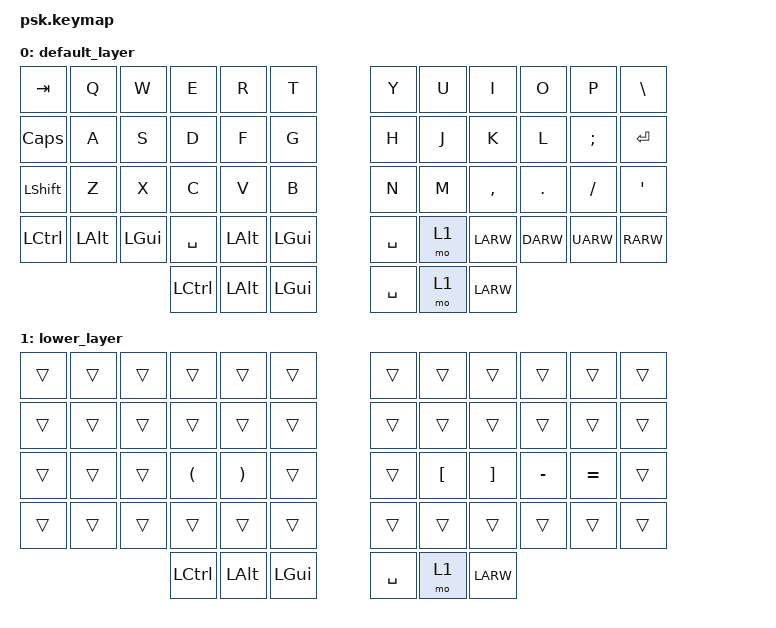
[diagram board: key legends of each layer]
#include <behaviors.dtsi>
#include <dt-bindings/zmk/keys.h>
#include <dt-bindings/zmk/bt.h>

/ {
        keymap {
                compatible = "zmk,keymap";

                default_layer {
// ---------------------------------------------------------------------------------
// |  TAB |  Q  |  W  |  E  |  R  |  T  |     |  Y  |  U  |  I  |  O  |  P  |  \   |
// | CAPS |  A  |  S  |  D  |  F  |  G  |     |  H  |  J  |  K  |  L  |  ;  |  ENT |
// | SHFT |  Z  |  X  |  C  |  V  |  B  |     |  N  |  M  |  ,  |  .  |  /  | APOS |
// | CTRL | ALT | GUI | SPC | SPC | SPC |     | SPC | LOW |LARW |DARW |UARW | RARW |
                        bindings = <
   &kp TAB    &kp Q     &kp W     &kp E      &kp R      &kp T                &kp Y      &kp U   &kp I      &kp O     &kp P     &kp BSLH
   &kp CAPS   &kp A     &kp S     &kp D      &kp F      &kp G                &kp H      &kp J   &kp K      &kp L     &kp SEMI  &kp RET
   &kp LSHFT  &kp Z     &kp X     &kp C      &kp V      &kp B                &kp N      &kp M   &kp COMMA  &kp DOT   &kp FSLH  &kp APOS
   &kp LCTRL  &kp LALT  &kp LGUI  &kp SPACE  &kp LALT   &kp LGUI             &kp SPACE  &mo 1   &kp LARW   &kp DARW  &kp UARW  &kp RARW
                                  &kp LCTRL  &kp LALT  &kp LGUI              &kp SPACE  &mo 1   &kp LARW
                        >;
                };
                lower_layer {
// |       |  BT1  |  BT2  |  BT3  |  BT4  |  BT5  |          |       |       |       |       |       | BTCLR |
// |       |       |       |       |       |       |          |       |       |       |       |       |       |
// |       |       |       | LPAR  | RPAR  |       |          |       | LBKT  | RBKT  |       |       |       |
// |       |       |       |       |       |       |          |       |       |       |       |       |       |
                        bindings = <
   &trans    &trans         &trans         &trans         &trans         &trans                 &trans    &trans    &trans   &trans   &trans  &trans
   &trans    &trans         &trans         &trans         &trans         &trans                 &trans    &trans    &trans   &trans   &trans  &trans
   &trans    &trans         &trans         &kp LPAR       &kp RPAR       &trans                 &trans    &kp LBKT  &kp RBKT &kp MINUS   &kp EQUAL  &trans
   &trans    &trans         &trans         &trans         &trans         &trans                 &trans    &trans    &trans   &trans   &trans  &trans
                                  &kp LCTRL  &kp LALT  &kp LGUI              &kp SPACE  &mo 1   &kp LARW
                        >;
                };
        };
};
